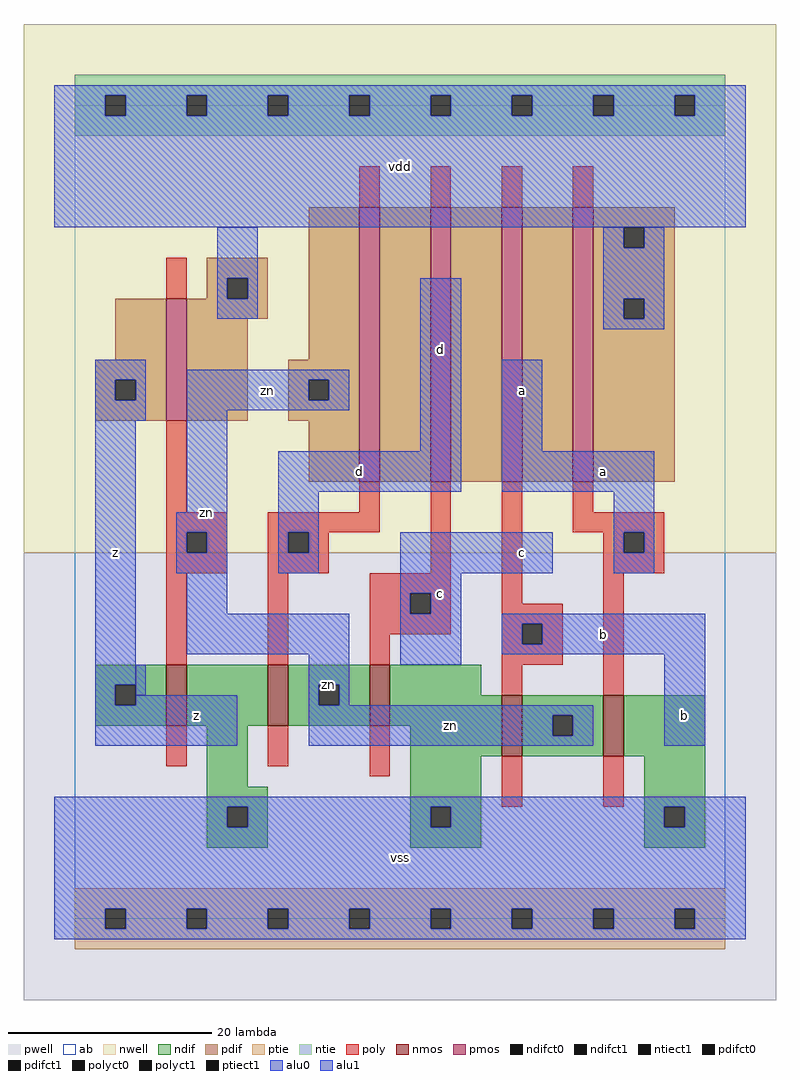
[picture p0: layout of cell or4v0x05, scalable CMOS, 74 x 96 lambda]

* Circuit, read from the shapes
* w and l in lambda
.subckt or4v0x05 a b c d vdd vss z zn
M1 vss zn z vss nfet w=6 l=2
M2 zn d vss vss nfet w=6 l=2
M3 vss c zn vss nfet w=6 l=2
M4 zn b vss vss nfet w=6 l=2
M5 vss a zn vss nfet w=6 l=2
M6 vdd zn z vdd pfet w=12 l=2
M7 n1 d zn vdd pfet w=27 l=2
M8 n2 c n1 vdd pfet w=27 l=2
M9 n3 b n2 vdd pfet w=27 l=2
M10 vdd a n3 vdd pfet w=27 l=2
.ends

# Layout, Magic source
magic
tech scmos
<< ab >>
rect 0 0 64 80
<< nwell >>
rect -5 36 69 88
<< pwell >>
rect -5 -8 69 36
<< poly >>
rect 28 70 30 74
rect 35 70 37 74
rect 42 70 44 74
rect 49 70 51 74
rect 9 61 11 65
rect 9 40 11 49
rect 28 40 30 43
rect 9 38 15 40
rect 9 36 11 38
rect 13 36 15 38
rect 9 34 15 36
rect 19 38 30 40
rect 19 36 21 38
rect 23 36 25 38
rect 19 34 25 36
rect 35 34 37 43
rect 9 25 11 34
rect 19 25 21 34
rect 29 32 37 34
rect 29 30 33 32
rect 35 30 37 32
rect 29 28 37 30
rect 42 31 44 43
rect 49 40 51 43
rect 49 38 58 40
rect 52 36 54 38
rect 56 36 58 38
rect 52 34 58 36
rect 42 29 48 31
rect 29 25 31 28
rect 42 27 44 29
rect 46 27 48 29
rect 42 25 48 27
rect 42 22 44 25
rect 52 22 54 34
rect 9 15 11 19
rect 19 15 21 19
rect 29 14 31 19
rect 42 11 44 16
rect 52 11 54 16
<< ndif >>
rect 2 23 9 25
rect 2 21 4 23
rect 6 21 9 23
rect 2 19 9 21
rect 11 19 19 25
rect 21 23 29 25
rect 21 21 24 23
rect 26 21 29 23
rect 21 19 29 21
rect 31 22 40 25
rect 31 19 42 22
rect 13 13 17 19
rect 33 16 42 19
rect 44 20 52 22
rect 44 18 47 20
rect 49 18 52 20
rect 44 16 52 18
rect 54 16 62 22
rect 13 11 19 13
rect 13 9 15 11
rect 17 9 19 11
rect 13 7 19 9
rect 33 11 40 16
rect 56 11 62 16
rect 33 9 35 11
rect 37 9 40 11
rect 33 7 40 9
rect 56 9 58 11
rect 60 9 62 11
rect 56 7 62 9
<< pdif >>
rect 13 63 19 65
rect 13 61 15 63
rect 17 61 19 63
rect 4 55 9 61
rect 2 53 9 55
rect 2 51 4 53
rect 6 51 9 53
rect 2 49 9 51
rect 11 59 19 61
rect 11 49 17 59
rect 23 55 28 70
rect 21 53 28 55
rect 21 51 23 53
rect 25 51 28 53
rect 21 49 28 51
rect 23 43 28 49
rect 30 43 35 70
rect 37 43 42 70
rect 44 43 49 70
rect 51 68 59 70
rect 51 66 54 68
rect 56 66 59 68
rect 51 61 59 66
rect 51 59 54 61
rect 56 59 59 61
rect 51 43 59 59
<< alu1 >>
rect -2 81 66 82
rect -2 79 3 81
rect 5 79 11 81
rect 13 79 19 81
rect 21 79 27 81
rect 29 79 35 81
rect 37 79 43 81
rect 45 79 51 81
rect 53 79 59 81
rect 61 79 66 81
rect -2 68 66 79
rect 2 53 7 55
rect 2 51 4 53
rect 6 51 7 53
rect 2 49 7 51
rect 2 23 6 49
rect 34 46 38 63
rect 20 42 38 46
rect 42 46 46 55
rect 42 42 57 46
rect 20 38 24 42
rect 53 38 57 42
rect 20 36 21 38
rect 23 36 24 38
rect 20 34 24 36
rect 32 34 47 38
rect 53 36 54 38
rect 56 36 57 38
rect 53 34 57 36
rect 32 32 38 34
rect 32 30 33 32
rect 35 30 38 32
rect 2 21 4 23
rect 32 25 38 30
rect 42 29 62 30
rect 42 27 44 29
rect 46 27 62 29
rect 42 26 62 27
rect 6 21 16 22
rect 2 17 16 21
rect 58 17 62 26
rect -2 11 66 12
rect -2 9 15 11
rect 17 9 35 11
rect 37 9 58 11
rect 60 9 66 11
rect -2 1 66 9
rect -2 -1 3 1
rect 5 -1 11 1
rect 13 -1 19 1
rect 21 -1 27 1
rect 29 -1 35 1
rect 37 -1 43 1
rect 45 -1 51 1
rect 53 -1 59 1
rect 61 -1 66 1
rect -2 -2 66 -1
<< ptie >>
rect 0 1 64 3
rect 0 -1 3 1
rect 5 -1 11 1
rect 13 -1 19 1
rect 21 -1 27 1
rect 29 -1 35 1
rect 37 -1 43 1
rect 45 -1 51 1
rect 53 -1 59 1
rect 61 -1 64 1
rect 0 -3 64 -1
<< ntie >>
rect 0 81 64 83
rect 0 79 3 81
rect 5 79 11 81
rect 13 79 19 81
rect 21 79 27 81
rect 29 79 35 81
rect 37 79 43 81
rect 45 79 51 81
rect 53 79 59 81
rect 61 79 64 81
rect 0 77 64 79
<< nmos >>
rect 9 19 11 25
rect 19 19 21 25
rect 29 19 31 25
rect 42 16 44 22
rect 52 16 54 22
<< pmos >>
rect 9 49 11 61
rect 28 43 30 70
rect 35 43 37 70
rect 42 43 44 70
rect 49 43 51 70
<< polyct0 >>
rect 11 36 13 38
<< polyct1 >>
rect 21 36 23 38
rect 33 30 35 32
rect 54 36 56 38
rect 44 27 46 29
<< ndifct0 >>
rect 24 21 26 23
rect 47 18 49 20
<< ndifct1 >>
rect 4 21 6 23
rect 15 9 17 11
rect 35 9 37 11
rect 58 9 60 11
<< ntiect1 >>
rect 3 79 5 81
rect 11 79 13 81
rect 19 79 21 81
rect 27 79 29 81
rect 35 79 37 81
rect 43 79 45 81
rect 51 79 53 81
rect 59 79 61 81
<< ptiect1 >>
rect 3 -1 5 1
rect 11 -1 13 1
rect 19 -1 21 1
rect 27 -1 29 1
rect 35 -1 37 1
rect 43 -1 45 1
rect 51 -1 53 1
rect 59 -1 61 1
<< pdifct0 >>
rect 15 61 17 63
rect 23 51 25 53
rect 54 66 56 68
rect 54 59 56 61
<< pdifct1 >>
rect 4 51 6 53
<< alu0 >>
rect 14 63 18 68
rect 52 66 54 68
rect 56 66 58 68
rect 14 61 15 63
rect 17 61 18 63
rect 14 59 18 61
rect 11 53 27 54
rect 11 51 23 53
rect 25 51 27 53
rect 11 50 27 51
rect 11 40 15 50
rect 52 61 58 66
rect 52 59 54 61
rect 56 59 58 61
rect 52 58 58 59
rect 10 38 15 40
rect 10 36 11 38
rect 13 36 15 38
rect 10 34 15 36
rect 11 30 15 34
rect 11 26 27 30
rect 6 22 7 25
rect 23 23 27 26
rect 23 21 24 23
rect 26 21 27 23
rect 23 20 51 21
rect 23 18 47 20
rect 49 18 51 20
rect 23 17 51 18
<< labels >>
rlabel alu0 13 40 13 40 6 zn
rlabel alu0 25 23 25 23 6 zn
rlabel alu0 19 52 19 52 6 zn
rlabel alu0 37 19 37 19 6 zn
rlabel alu1 12 20 12 20 6 z
rlabel alu1 4 36 4 36 6 z
rlabel alu1 28 44 28 44 6 d
rlabel alu1 32 6 32 6 6 vss
rlabel alu1 36 32 36 32 6 c
rlabel alu1 44 36 44 36 6 c
rlabel alu1 36 56 36 56 6 d
rlabel alu1 44 52 44 52 6 a
rlabel alu1 32 74 32 74 6 vdd
rlabel alu1 60 20 60 20 6 b
rlabel alu1 52 28 52 28 6 b
rlabel alu1 52 44 52 44 6 a
<< end >>
